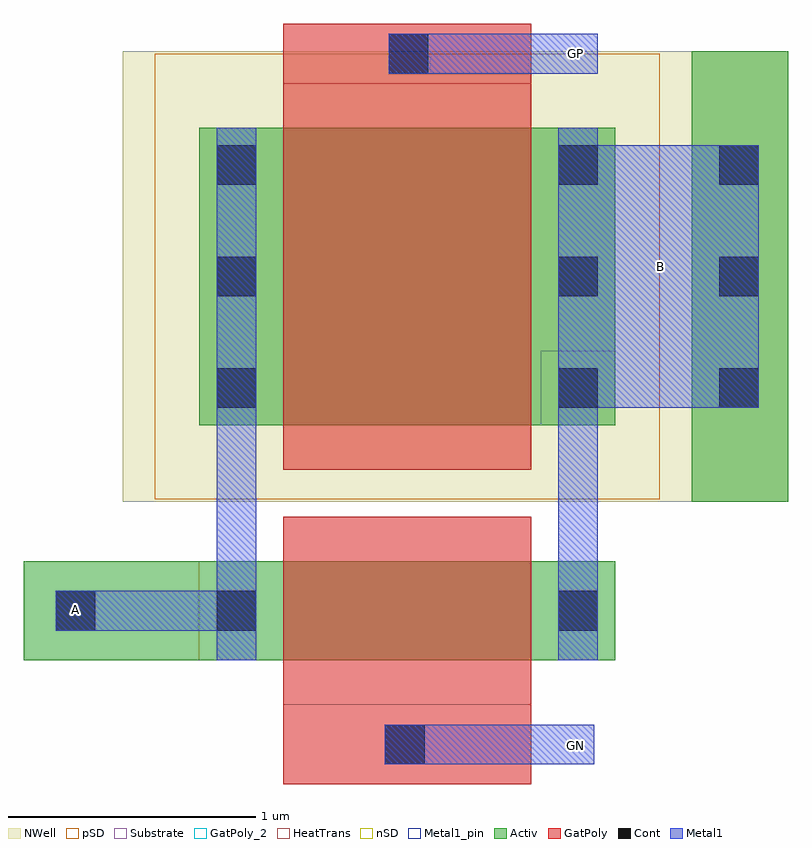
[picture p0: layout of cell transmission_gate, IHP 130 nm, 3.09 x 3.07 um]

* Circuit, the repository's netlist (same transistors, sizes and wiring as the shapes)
** sch_path: /home/designer/shared/OS_AnalogIC_UCU_July2025/Python_layout/transmission_gate/transmission_gate.sch
.subckt transmission_gate B GN A GP
*.PININFO B:B GN:B A:B GP:B
M1 B GN A A sg13_lv_nmos l=1u w=0.4u ng=1 m=1
M2 A GP B B sg13_lv_pmos l=1u w=1.2u ng=1 m=1
.ends
.end

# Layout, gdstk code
import gdstk
lib = gdstk.Library(unit=1e-6, precision=5e-09)
def R(c, l, rs):  # rectangles x0, y0, x1, y1
    for r in rs: c.add(gdstk.rectangle(r[:2], r[2:], *l))
def A(c, l, x, y, w, h, nx, ny, dx, dy):  # array of equal rectangles
    R(c, l, [(x+i*dx, y+j*dy, x+i*dx+w, y+j*dy+h) for i in range(nx) for j in range(ny)])
Activ = (1, 0)
GatPoly = (5, 0)
GatPoly_2 = (5, 2)
Cont = (6, 0)
nSD = (7, 0)
Metal1 = (8, 0)
Metal1_pin = (8, 2)
pSD = (14, 0)
NWell = (31, 0)
Substrate = (40, 0)
HeatTrans = (51, 0)

nmos = lib.new_cell('nmos')
R(nmos, Activ, [(0,0,0.3,0.3), (0,0,1.68,0.4), (1.38,0,1.68,0.3)])
R(nmos, GatPoly, [(0.34,-0.18,1.34,0.58)])
R(nmos, GatPoly_2, [(0.34,-0.18,1.34,0.58)])
R(nmos, Cont, [(0.07,0.12,0.23,0.28), (1.45,0.12,1.61,0.28)])
R(nmos, Metal1, [(0.07,0,0.23,0.4), (1.45,0,1.61,0.4)])
R(nmos, Metal1_pin, [(0.07,0,0.23,0.4), (1.45,0,1.61,0.4)])
R(nmos, HeatTrans, [(0.34,-0.18,1.34,0.58)])
nmos.add(gdstk.Label('nmos', (0.84,0.2), layer=63, texttype=0))
nmos.add(gdstk.Label('nmos', (0.84,0.2), layer=51, texttype=0))

pmos = lib.new_cell('pmos')
R(pmos, Activ, [(0,0,0.3,0.3), (0,0,1.68,1.2), (1.38,0,1.68,0.3)])
R(pmos, GatPoly, [(0.34,-0.18,1.34,1.38), (0.34,-0.18,1.34,1.38)])
A(pmos, Cont, 0.07, 0.07, 0.16, 0.16, 1, 3, 0, 0.45)
A(pmos, Cont, 1.45, 0.07, 0.16, 0.16, 1, 3, 0, 0.45)
R(pmos, Metal1, [(0.07,0,0.23,1.2), (0.07,0,0.23,1.2), (1.45,0,1.61,1.2), (1.45,0,1.61,1.2)])
R(pmos, pSD, [(-0.18,-0.3,1.86,1.5)])
R(pmos, NWell, [(-0.31,-0.31,1.99,1.51)])
R(pmos, Substrate, [(1.38,0,1.68,0.3)])
R(pmos, HeatTrans, [(0.34,-0.18,1.34,1.38)])
pmos.add(gdstk.Label('pmos', (0.84,0.6), layer=63, texttype=0))
pmos.add(gdstk.Label('pmos', (0.84,0.6), layer=51, texttype=0))

transmission_gate = lib.new_cell('transmission_gate')
R(transmission_gate, Activ, [(-1.2,0.175,-0.49,0.575), (1.5,0.815,1.89,2.635)])
R(transmission_gate, GatPoly, [(-0.15,-0.325,0.85,-0.005), (-0.15,2.425,0.85,2.745)])
A(transmission_gate, Cont, 1.61, 1.195, 0.16, 0.16, 1, 3, 0, 0.45)
R(transmission_gate, Cont, [(0.26,-0.245,0.42,-0.085), (-1.07,0.295,-0.91,0.455), (0.275,2.545,0.435,2.705)])
R(transmission_gate, nSD, [(1.5,0.815,1.89,2.635), (1.5,0.815,1.89,2.635)])
R(transmission_gate, Metal1, [(0.26,-0.245,1.105,-0.085), (-1.07,0.295,-0.42,0.455), (-0.42,0.575,-0.26,1.125), (0.96,0.575,1.12,1.125), (1.12,1.195,1.61,2.255), (1.61,1.195,1.77,2.255), (0.275,2.545,1.12,2.705)])
R(transmission_gate, pSD, [(-1.2,0.175,-0.49,0.575)])
R(transmission_gate, NWell, [(1.5,0.815,1.89,2.635)])
transmission_gate.add(gdstk.Reference(nmos, (-0.49,0.175)))
transmission_gate.add(gdstk.Reference(pmos, (-0.49,1.125)))
transmission_gate.add(gdstk.Label('GP', (1.03,2.625), layer=8, texttype=2))
transmission_gate.add(gdstk.Label('GN', (1.03,-0.17), layer=8, texttype=2))
transmission_gate.add(gdstk.Label('A', (-0.99,0.38), layer=8, texttype=2))
transmission_gate.add(gdstk.Label('B', (1.375,1.765), layer=8, texttype=2))

lib.write_gds('transmission_gate.gds')
